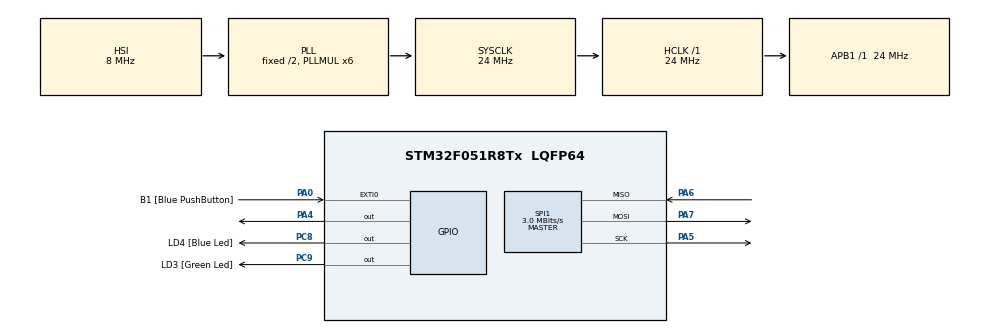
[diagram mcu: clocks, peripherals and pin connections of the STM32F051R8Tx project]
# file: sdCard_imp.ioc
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FATFS._MAX_SS=512
FATFS._USE_LFN=0
Mcu.Family=STM32F0
Mcu.Name=STM32F051R8Tx
Mcu.Package=LQFP64
PA0.GPIO_Label=B1 [Blue PushButton]
PA0.GPIO_ModeDefaultEXTI=GPIO_MODE_EVT_RISING
PA0.Signal=GPXTI0
PA13.GPIO_Label=SWDIO
PA13.Mode=Serial_Wire
PA13.Signal=SYS_SWDIO
PA14.GPIO_Label=SWCLK
PA14.Mode=Serial_Wire
PA14.Signal=SYS_SWCLK
PA4.Signal=GPIO_Output
PA5.Mode=Full_Duplex_Master
PA5.Signal=SPI1_SCK
PA6.Mode=Full_Duplex_Master
PA6.Signal=SPI1_MISO
PA7.Mode=Full_Duplex_Master
PA7.Signal=SPI1_MOSI
PC8.GPIO_Label=LD4 [Blue Led]
PC8.Signal=GPIO_Output
PC9.GPIO_Label=LD3 [Green Led]
PC9.Signal=GPIO_Output
ProjectManager.HeapSize=0x200
ProjectManager.StackSize=0x400
ProjectManager.TargetToolchain=STM32CubeIDE
RCC.AHBFreq_Value=24000000
RCC.APB1Freq_Value=24000000
RCC.APB1TimFreq_Value=24000000
RCC.HCLKFreq_Value=24000000
RCC.PLLMUL=RCC_PLL_MUL6
RCC.SYSCLKFreq_VALUE=24000000
RCC.SYSCLKSource=RCC_SYSCLKSOURCE_PLLCLK
SPI1.BaudRatePrescaler=SPI_BAUDRATEPRESCALER_8
SPI1.CalculateBaudRate=3.0 MBits/s
SPI1.DataSize=SPI_DATASIZE_8BIT
SPI1.Direction=SPI_DIRECTION_2LINES
SPI1.Mode=SPI_MODE_MASTER
SPI1.VirtualType=VM_MASTER
VP_FATFS_VS_Generic.Mode=User_defined
board=STM32F0DISCOVERY

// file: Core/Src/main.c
/* USER CODE BEGIN Header */
/**
  ******************************************************************************
  * @file           : main.c
  * @brief          : Main program body
  ******************************************************************************
  * @attention
  *
  * Copyright (c) 2022 STMicroelectronics.
  * All rights reserved.
  *
  * This software is licensed under terms that can be found in the LICENSE file
  * in the root directory of this software component.
  * If no LICENSE file comes with this software, it is provided AS-IS.
  *
  ******************************************************************************
  */
/* USER CODE END Header */
#include "main.h"
#include "fatfs.h"

/* USER CODE BEGIN Includes */
#include "fatfs_sd.h"
#include "string.h"

/* USER CODE END Includes */

SPI_HandleTypeDef hspi1;

/* USER CODE BEGIN PV */

uint8_t writeData[10] = "1111123456";
uint8_t readData[10];
uint8_t btw = 10;
/* USER CODE END PV */

void SystemClock_Config(void);
static void MX_GPIO_Init(void);
static void MX_SPI1_Init(void);

/* USER CODE BEGIN 0 */

FATFS fs;  // file system
FIL fil; // file
FRESULT fresult; // to store the result
//char buffer[1024]; // to store the data

UINT br, bw; // file read/write count

/* to send the data to the uart*/
/* void send_uart(char *string){
	uint8_t len = strlen(string);
	HAL_UART_Transmit(&huart1, (uint8_t *) string, len, 2000); // transmit in blocking mode
}*/
/* to find the size of data in the buffer */

/* to send the data to the uart*/

/* USER CODE END 0 */

int main(void)
{

  /* MCU Configuration--------------------------------------------------------*/

  /* Reset of all peripherals, Initializes the Flash interface and the Systick. */
  HAL_Init();

  /* Configure the system clock */
  SystemClock_Config();

  /* Initialize all configured peripherals */
  MX_GPIO_Init();
  MX_SPI1_Init();
  MX_FATFS_Init();
  /* USER CODE BEGIN 2 */

fresult = f_mount(&fs, "", 1);
fresult = f_open(&fil, "F.txt", FA_CREATE_ALWAYS | FA_WRITE | FA_READ);//open file
fresult = f_write(&fil, writeData, btw, &bw); //Writing data
fresult = f_close(&fil);//close file

fresult = f_open(&fil, "F.txt", FA_OPEN_ALWAYS | FA_WRITE | FA_READ);//open file
fresult = f_read(&fil, readData, 10, &br);
fresult = f_close(&fil);//close file
/*
//open file to read
fresult = f_open(&fil, "file1.txt", FA_READ);

//read string from the file
f_gets(buffer, fil.fsize, &fil);
send_uart(buffer);

//close file
f_close(&fil);
*/

  /* USER CODE END 2 */

  /* Infinite loop */
  while (1)
  {

  }
}

void SystemClock_Config(void)
{
  RCC_OscInitTypeDef RCC_OscInitStruct = {0};
  RCC_ClkInitTypeDef RCC_ClkInitStruct = {0};

  /** Initializes the RCC Oscillators according to the specified parameters
  * in the RCC_OscInitTypeDef structure.
  */
  RCC_OscInitStruct.OscillatorType = RCC_OSCILLATORTYPE_HSI;
  RCC_OscInitStruct.HSIState = RCC_HSI_ON;
  RCC_OscInitStruct.HSICalibrationValue = RCC_HSICALIBRATION_DEFAULT;
  RCC_OscInitStruct.PLL.PLLState = RCC_PLL_ON;
  RCC_OscInitStruct.PLL.PLLSource = RCC_PLLSOURCE_HSI;
  RCC_OscInitStruct.PLL.PLLMUL = RCC_PLL_MUL6;
  RCC_OscInitStruct.PLL.PREDIV = RCC_PREDIV_DIV1;
  if (HAL_RCC_OscConfig(&RCC_OscInitStruct) != HAL_OK)
  {
    Error_Handler();
  }

  /** Initializes the CPU, AHB and APB buses clocks
  */
  RCC_ClkInitStruct.ClockType = RCC_CLOCKTYPE_HCLK|RCC_CLOCKTYPE_SYSCLK
                              |RCC_CLOCKTYPE_PCLK1;
  RCC_ClkInitStruct.SYSCLKSource = RCC_SYSCLKSOURCE_PLLCLK;
  RCC_ClkInitStruct.AHBCLKDivider = RCC_SYSCLK_DIV1;
  RCC_ClkInitStruct.APB1CLKDivider = RCC_HCLK_DIV1;

  if (HAL_RCC_ClockConfig(&RCC_ClkInitStruct, FLASH_LATENCY_0) != HAL_OK)
  {
    Error_Handler();
  }
}

static void MX_SPI1_Init(void)
{

  /* SPI1 parameter configuration*/
  hspi1.Instance = SPI1;
  hspi1.Init.Mode = SPI_MODE_MASTER;
  hspi1.Init.Direction = SPI_DIRECTION_2LINES;
  hspi1.Init.DataSize = SPI_DATASIZE_8BIT;
  hspi1.Init.CLKPolarity = SPI_POLARITY_LOW;
  hspi1.Init.CLKPhase = SPI_PHASE_1EDGE;
  hspi1.Init.NSS = SPI_NSS_SOFT;
  hspi1.Init.BaudRatePrescaler = SPI_BAUDRATEPRESCALER_8;
  hspi1.Init.FirstBit = SPI_FIRSTBIT_MSB;
  hspi1.Init.TIMode = SPI_TIMODE_DISABLE;
  hspi1.Init.CRCCalculation = SPI_CRCCALCULATION_DISABLE;
  hspi1.Init.CRCPolynomial = 7;
  hspi1.Init.CRCLength = SPI_CRC_LENGTH_DATASIZE;
  hspi1.Init.NSSPMode = SPI_NSS_PULSE_ENABLE;
  if (HAL_SPI_Init(&hspi1) != HAL_OK)
  {
    Error_Handler();
  }

}

static void MX_GPIO_Init(void)
{
  GPIO_InitTypeDef GPIO_InitStruct = {0};

  /* GPIO Ports Clock Enable */
  __HAL_RCC_GPIOA_CLK_ENABLE();
  __HAL_RCC_GPIOC_CLK_ENABLE();

  /*Configure GPIO pin Output Level */
  HAL_GPIO_WritePin(GPIOA, GPIO_PIN_4, GPIO_PIN_RESET);

  /*Configure GPIO pin Output Level */
  HAL_GPIO_WritePin(GPIOC, LD4_Pin|LD3_Pin, GPIO_PIN_RESET);

  /*Configure GPIO pin : B1_Pin */
  GPIO_InitStruct.Pin = B1_Pin;
  GPIO_InitStruct.Mode = GPIO_MODE_EVT_RISING;
  GPIO_InitStruct.Pull = GPIO_NOPULL;
  HAL_GPIO_Init(B1_GPIO_Port, &GPIO_InitStruct);

  /*Configure GPIO pin : PA4 */
  GPIO_InitStruct.Pin = GPIO_PIN_4;
  GPIO_InitStruct.Mode = GPIO_MODE_OUTPUT_PP;
  GPIO_InitStruct.Pull = GPIO_NOPULL;
  GPIO_InitStruct.Speed = GPIO_SPEED_FREQ_LOW;
  HAL_GPIO_Init(GPIOA, &GPIO_InitStruct);

  /*Configure GPIO pins : LD4_Pin LD3_Pin */
  GPIO_InitStruct.Pin = LD4_Pin|LD3_Pin;
  GPIO_InitStruct.Mode = GPIO_MODE_OUTPUT_PP;
  GPIO_InitStruct.Pull = GPIO_NOPULL;
  GPIO_InitStruct.Speed = GPIO_SPEED_FREQ_LOW;
  HAL_GPIO_Init(GPIOC, &GPIO_InitStruct);

}

void Error_Handler(void)
{
  __disable_irq();
  while (1)
  {
  }
}
